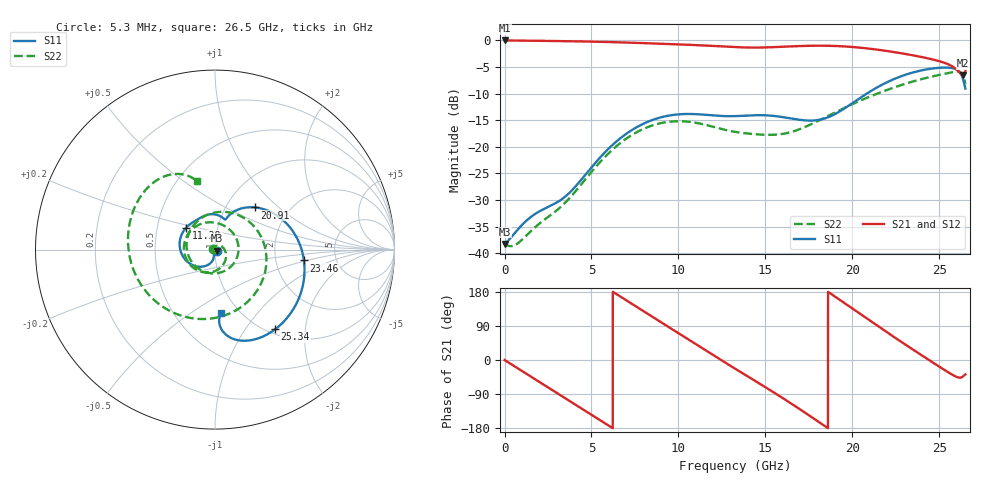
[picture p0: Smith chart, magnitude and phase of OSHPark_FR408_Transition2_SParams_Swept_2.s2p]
! TOUCHSTONE file generated by CST MICROWAVE STUDIO
! Date and time: Tue Jan  7 09:43:05 2020
! Project name: OSHPark_FR408_Transition2.cst
! Parameters = {GND_Plane_XMax=11.75; Cap_Disk_XOffset=0; Cap_Disk2_YCenter=-1.03; Cap_Disk_YCenter=1.03; Cap_Disk_XCenter=7.39; Cap_Disk_Radius=0.5; BottomSupport_Left_YMax=4.76; BottomSupport_Left_YMin=3.74; BottomSupport_Right_YMax=-3.74; BottomSupport_Right_YMin=-4.76; BottomSupport_XMax=11.64; 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
! Header version: 2015
! Port assignment regex: !\s*Touchstone port\s*([0-9]+)\s*=\s*CST MWS port\s*([0-9]+)\s*\(\"(.*)\"\)(\s*mode\s*([0-9]+))?.*
! Touchstone port assignment:
! Touchstone port 1 = CST MWS port 1 ("")
! Touchstone port 2 = CST MWS port 2 ("")
# GHz S MA R 50
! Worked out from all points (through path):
!   5000 points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, 5.3 MHz to 26.5 GHz, reference 50 ohm
!   highest |S21| = 0.00 dB at 5.3 MHz (marker M1); lowest = -6.5 dB at 26.35 GHz (marker M2)
!   group delay of S21, straight-line fit = 81.7 ps
!   lowest |S11| = -38.2 dB at 5.3 MHz (marker M3), VSWR 1.02, Z = 51.1 - j0.513 ohm
!   |S11| at or under -10 dB: start of sweep to 20.82 GHz
!   |S22| runs from -38.7 to -5.8 dB; largest |S21 - S12| = 0
!   S11 on the Smith chart (normalised r, x): 5.3 MHz: 1.02, -0.01; 11.28 GHz: 0.70, +0.18; 20.91 GHz: 1.36, +0.71; 23.46 GHz: 2.91, -0.47; 25.34 GHz: 1.08, -1.39; 26.5 GHz: 0.83, -0.67
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0.0053  0.01224 -24.2  0.9999 -0.2  0.9999 -0.2  0.01236 154.7
1.1183  0.01929 -76.8  0.9961 -32.3  0.9961 -32.3  0.01398 162.0
2.4062  0.02677 -99.7  0.9905 -69.4  0.9905 -69.4  0.02135 123.8
3.4026  0.03323 -100.5  0.9853 -98.2  0.9853 -98.2  0.02896 72.8
4.4255  0.04944 -99.4  0.9791 -127.8  0.9791 -127.8  0.04476 18.0
5.5067  0.07991 -108.8  0.9709 -159.1  0.9709 -159.1  0.07239 -31.6
6.5243  0.1157 -125.2  0.9612 171.4  0.9612 171.4  0.1044 -72.0
7.7857  0.159 -150.0  0.9468 134.8  0.9468 134.8  0.1424 -117.9
8.8404  0.1865 -171.8  0.9336 104.3  0.9336 104.3  0.165 -154.5
10.0064  0.2021 165.0  0.9185 70.5  0.9185 70.5  0.1743 165.8
11.2837  0.2018 142.7  0.9001 33.6  0.9001 33.6  0.165 123.1
13.2553  0.1945 117.6  0.8662 -22.9  0.8662 -22.9  0.1384 55.6
15.6032  0.1944 87.6  0.8668 -89.0  0.8668 -89.0  0.1303 -64.5
16.6102  0.1834 77.1  0.8814 -118.7  0.8814 -118.7  0.14 -129.9
17.6702  0.1767 71.4  0.8917 -151.0  0.8917 -151.0  0.1645 162.5
19.1701  0.2106 67.2  0.8854 161.9  0.8854 161.9  0.2173 75.2
20.9138  0.3232 46.7  0.8397 106.8  0.8397 106.8  0.2927 -11.7
22.0851  0.4116 23.9  0.7919 70.3  0.7919 70.3  0.3469 -61.6
23.4631  0.4991 -7.0  0.7259 28.2  0.7259 28.2  0.4109 -114.9
25.3446  0.5561 -53.0  0.6125 -27.6  0.6125 -27.6  0.4881 173.4
26.3516  0.4396 -85.7  0.4708 -43.6  0.4708 -43.6  0.4756 117.6
26.5  0.3529 -84.2  0.5155 -37.8  0.5155 -37.8  0.3899 104.5
